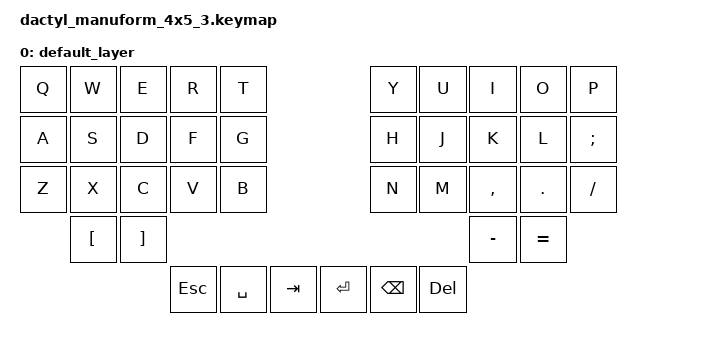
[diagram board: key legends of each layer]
/*
 * Copyright (c) 2020 The ZMK Contributors
 *
 * SPDX-License-Identifier: MIT
 */

#include <behaviors.dtsi>
#include <dt-bindings/zmk/keys.h>
#include <dt-bindings/zmk/bt.h>

/ {
    keymap {
        compatible = "zmk,keymap";

        default_layer {
// -------------------------------------------------------------------------------------------------------------------------
// |    Q    |    W    |    E    |    R    |    T    |                   |    Y    |    U    |    I    |    O    |    P    |
// |    A    |    S    |    D    |    F    |    G    |                   |    H    |    J    |    K    |    L    |    ;    |
// |    Z    |    X    |    C    |    V    |    B    |                   |    N    |    M    |    ,    |    .    |    /    |
//           |    [    |    ]    |                                                           |    -    |    =    |
//                               |   ESC   |   SPC   |   TAB   |  ENTR   |   BSPC  |   DEL   |
            bindings = <
    &kp Q     &kp W    &kp E     &kp R     &kp T                          &kp Y     &kp U     &kp I     &kp O     &kp P
    &kp A     &kp S    &kp D     &kp F     &kp G                          &kp H     &kp J     &kp K     &kp L     &kp SEMI
    &kp Z     &kp X    &kp C     &kp V     &kp B                          &kp N     &kp M     &kp COMMA &kp DOT   &kp FSLH
              &kp LBKT &kp RBKT                                                               &kp MINUS  &kp EQUAL
                                 &kp ESC &kp SPACE &kp TAB      &kp ENTER &kp BSPC &kp DEL
            >;
        };
    };
};
